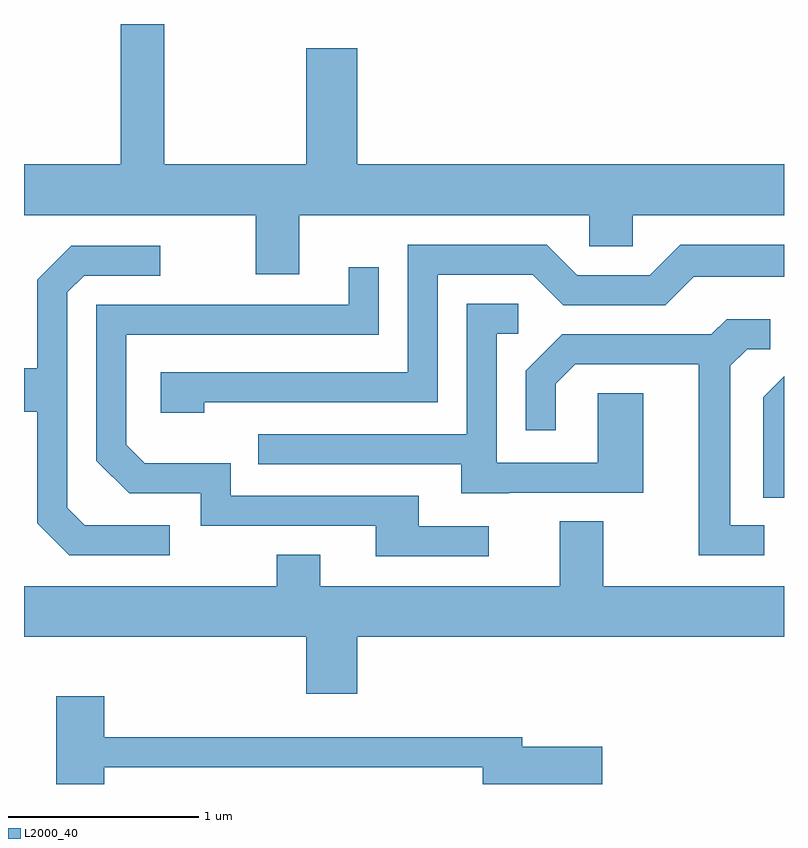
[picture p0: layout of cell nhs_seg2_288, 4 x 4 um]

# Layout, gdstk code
import gdstk
lib = gdstk.Library(unit=1e-6, precision=1e-09)
def P(c, l, *ps):  # polygons
    for p in ps: c.add(gdstk.Polygon(p, *l))
L2000_40 = (2000, 40)

nhs_seg2_288 = lib.new_cell('nhs_seg2_288')
P(nhs_seg2_288, L2000_40, [(195.059,1012.796),(196.586,1012.796),(196.586,1012.631),(196.814,1012.631),(196.814,1012.796),(197.611,1012.796),(197.611,1013.064),(195.364,1013.064),(195.364,1013.674),(195.096,1013.674),(195.096,1013.064),(194.349,1013.064),(194.349,1013.802),(194.121,1013.802),(194.121,1013.064),(193.611,1013.064),(193.611,1012.796),(194.831,1012.796),(194.831,1012.486),(195.059,1012.486)],
  [(194.559,1011.811),(195.789,1011.811),(195.789,1012.481),(196.289,1012.481),(196.449,1012.321),(196.987,1012.321),(197.137,1012.471),(197.611,1012.471),(197.611,1012.639),(197.064,1012.639),(196.904,1012.479),(196.522,1012.479),(196.362,1012.639),(195.631,1012.639),(195.631,1011.969),(194.331,1011.969),(194.331,1011.756),(194.559,1011.756)],
  [(194.378,1011.164),(193.932,1011.164),(193.839,1011.257),(193.839,1012.389),(193.927,1012.476),(194.328,1012.476),(194.328,1012.634),(193.859,1012.634),(193.681,1012.457),(193.681,1011.989),(193.611,1011.989),(193.611,1011.761),(193.681,1011.761),(193.681,1011.174),(193.849,1011.006),(194.378,1011.006)],
  [(196.058,1011.159),(195.689,1011.159),(195.689,1011.319),(194.699,1011.319),(194.699,1011.489),(194.247,1011.489),(194.149,1011.587),(194.149,1012.166),(195.479,1012.166),(195.479,1012.523),(195.321,1012.523),(195.321,1012.324),(193.991,1012.324),(193.991,1011.504),(194.164,1011.331),(194.541,1011.331),(194.541,1011.161),(195.461,1011.161),(195.461,1011.001),(196.058,1011.001)],
  [(196.165,1011.336),(196.869,1011.336),(196.869,1011.859),(196.631,1011.859),(196.631,1011.494),(196.099,1011.494),(196.099,1012.171),(196.213,1012.171),(196.213,1012.329),(195.941,1012.329),(195.941,1011.644),(194.843,1011.644),(194.843,1011.486),(195.911,1011.486),(195.911,1011.331),(196.165,1011.331)],
  [(197.508,1011.164),(197.329,1011.164),(197.329,1012.004),(197.417,1012.091),(197.538,1012.091),(197.538,1012.249),(197.309,1012.249),(197.229,1012.169),(196.444,1012.169),(196.251,1011.977),(196.251,1011.663),(196.409,1011.663),(196.409,1011.909),(196.512,1012.011),(197.161,1012.011),(197.161,1011.006),(197.508,1011.006)],
  [(197.611,1011.947),(197.501,1011.837),(197.501,1011.308),(197.611,1011.308)],
  [(195.364,1010.576),(197.611,1010.576),(197.611,1010.844),(196.659,1010.844),(196.659,1011.184),(196.431,1011.184),(196.431,1010.844),(195.169,1010.844),(195.169,1011.009),(194.941,1011.009),(194.941,1010.844),(193.611,1010.844),(193.611,1010.576),(195.096,1010.576),(195.096,1010.276),(195.364,1010.276)],
  [(194.034,1009.891),(196.026,1009.891),(196.026,1009.802),(196.654,1009.802),(196.654,1009.999),(196.234,1009.999),(196.234,1010.049),(194.034,1010.049),(194.034,1010.264),(193.781,1010.264),(193.781,1009.802),(194.034,1009.802)])

lib.write_gds('nhs_seg2_288.gds')
